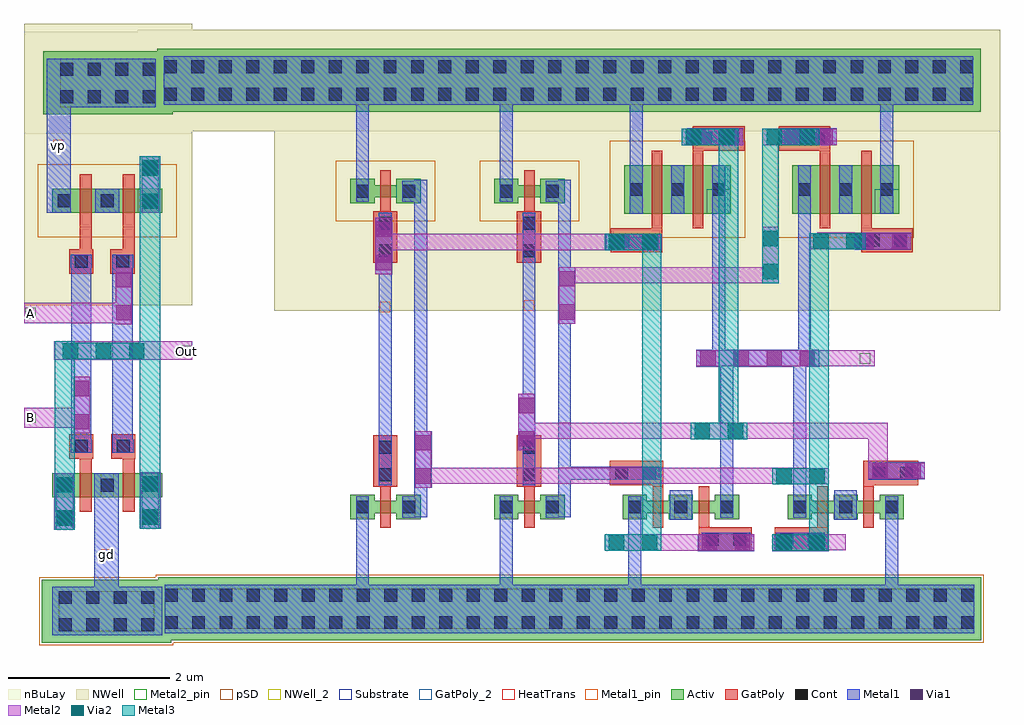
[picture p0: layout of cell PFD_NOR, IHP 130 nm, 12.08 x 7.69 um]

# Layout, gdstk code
from math import pi, radians
import gdstk
lib = gdstk.Library(unit=1e-6, precision=1e-09)
def R(c, l, rs):  # rectangles x0, y0, x1, y1
    for r in rs: c.add(gdstk.rectangle(r[:2], r[2:], *l))
def A(c, l, x, y, w, h, nx, ny, dx, dy):  # array of equal rectangles
    R(c, l, [(x+i*dx, y+j*dy, x+i*dx+w, y+j*dy+h) for i in range(nx) for j in range(ny)])
def P(c, l, *ps):  # polygons
    for p in ps: c.add(gdstk.Polygon(p, *l))
Activ = (1, 0)
GatPoly = (5, 0)
GatPoly_2 = (5, 2)
Cont = (6, 0)
Metal1 = (8, 0)
Metal1_pin = (8, 2)
Metal2 = (10, 0)
Metal2_pin = (10, 2)
pSD = (14, 0)
Via1 = (19, 0)
Via2 = (29, 0)
Metal3 = (30, 0)
NWell = (31, 0)
NWell_2 = (31, 2)
nBuLay = (32, 0)
Substrate = (40, 0)
HeatTrans = (51, 0)

pmos = lib.new_cell('pmos')
R(pmos, Activ, [(0,0,0.3,0.3), (0,0,0.83,0.3), (0.53,0,0.83,0.3)])
R(pmos, GatPoly, [(0.34,-0.18,0.49,0.48), (0.34,-0.18,0.49,0.48)])
R(pmos, Cont, [(0.07,0.07,0.23,0.23), (0.6,0.07,0.76,0.23)])
R(pmos, Metal1, [(0.07,0,0.23,0.3), (0.07,0,0.23,0.3), (0.6,0,0.76,0.3), (0.6,0,0.76,0.3)])
R(pmos, pSD, [(-0.18,-0.3,1.01,0.6)])
R(pmos, NWell, [(-0.31,-0.31,1.14,0.61)])
R(pmos, Substrate, [(0.53,0,0.83,0.3)])
R(pmos, HeatTrans, [(0.34,-0.18,0.49,0.48)])
pmos.add(gdstk.Label('pmos', (0.415,0.15), layer=63, texttype=0))
pmos.add(gdstk.Label('pmos', (0.415,0.15), layer=51, texttype=0))

ntap1 = lib.new_cell('ntap1')
R(ntap1, Activ, [(0,0,1.6,0.78)])
A(ntap1, Cont, 0.21, 0.14, 0.16, 0.16, 4, 2, 0.34, 0.34)
R(ntap1, Metal1, [(0.21,0.09,1.39,0.69)])
R(ntap1, Metal1_pin, [(0.21,0.09,1.39,0.69), (0.21,0.14,1.39,0.64)])
R(ntap1, NWell, [(-0.24,-0.24,1.84,1.02), (0,0,1.6,0.78)])
R(ntap1, NWell_2, [(0,0,1.6,0.78)])
R(ntap1, nBuLay, [(-0.24,-0.24,1.84,1.02)])
ntap1.add(gdstk.Label('well', (0.8,0.01), layer=31, texttype=0))
ntap1.add(gdstk.Label('well', (0.8,0.01), layer=63, texttype=0))

via_5 = lib.new_cell('Via$5')
R(via_5, GatPoly, [(-0.15,-0.15,0.15,0.15)])
R(via_5, Cont, [(-0.08,-0.08,0.08,0.08)])
R(via_5, Metal1, [(-0.13,-0.08,0.13,0.08)])

via_6 = lib.new_cell('Via$6')
R(via_6, Metal1, [(-0.105,-0.35,0.105,0.35)])
R(via_6, Metal2, [(-0.1,-0.35,0.1,0.35)])
R(via_6, Via1, [(-0.095,-0.3,0.095,-0.11), (-0.095,0.11,0.095,0.3)])

ptap1 = lib.new_cell('ptap1')
R(ptap1, Activ, [(0,0,1.6,0.78)])
A(ptap1, Cont, 0.21, 0.14, 0.16, 0.16, 4, 2, 0.34, 0.34)
R(ptap1, Metal1, [(0.21,0.09,1.39,0.69), (0.21,0.14,1.39,0.64)])
R(ptap1, Metal1_pin, [(0.21,0.14,1.39,0.64)])
R(ptap1, pSD, [(-0.03,-0.03,1.63,0.81)])
R(ptap1, Substrate, [(0,0,1.6,0.78)])
ptap1.add(gdstk.Label('sub!', (0.8,0.01), layer=63, texttype=0))
ptap1.add(gdstk.Label('sub!', (0.8,0.01), layer=40, texttype=0))

nmos = lib.new_cell('nmos')
R(nmos, Activ, [(0,0,0.3,0.3), (0,0,0.83,0.3), (0.53,0,0.83,0.3)])
R(nmos, GatPoly, [(0.34,-0.18,0.49,0.48)])
R(nmos, GatPoly_2, [(0.34,-0.18,0.49,0.48)])
R(nmos, Cont, [(0.07,0.07,0.23,0.23), (0.6,0.07,0.76,0.23)])
R(nmos, Metal1, [(0.07,0,0.23,0.3), (0.6,0,0.76,0.3)])
R(nmos, Metal1_pin, [(0.07,0,0.23,0.3), (0.6,0,0.76,0.3)])
R(nmos, HeatTrans, [(0.34,-0.18,0.49,0.48)])
nmos.add(gdstk.Label('nmos', (0.415,0.15), layer=63, texttype=0))
nmos.add(gdstk.Label('nmos', (0.415,0.15), layer=51, texttype=0))

via = lib.new_cell('Via')
R(via, Metal2, [(-0.1,-0.35,0.1,0.35)])
R(via, Via2, [(-0.095,-0.3,0.095,-0.11), (-0.095,0.11,0.095,0.3)])
R(via, Metal3, [(-0.1,-0.35,0.1,0.35)])

via_7 = lib.new_cell('Via$7')
R(via_7, Metal2, [(-0.555,-0.1,0.555,0.1)])
A(via_7, Via2, -0.505, -0.095, 0.19, 0.19, 3, 1, 0.41, 0)
R(via_7, Metal3, [(-0.555,-0.1,0.555,0.1)])

pmos_1 = lib.new_cell('pmos$1')
R(pmos_1, Activ, [(0,0,0.3,0.3), (0.57,0,0.87,0.3), (0,0.075,0.87,0.225)])
R(pmos_1, GatPoly, [(0.37,-0.105,0.5,0.405), (0.37,-0.105,0.5,0.405)])
R(pmos_1, Cont, [(0.07,0.07,0.23,0.23), (0.64,0.07,0.8,0.23)])
R(pmos_1, Metal1, [(0.07,0.02,0.23,0.28), (0.07,0.02,0.23,0.28), (0.64,0.02,0.8,0.28), (0.64,0.02,0.8,0.28)])
R(pmos_1, pSD, [(-0.18,-0.225,1.05,0.525)])
R(pmos_1, NWell, [(-0.31,-0.31,1.18,0.61)])
R(pmos_1, Substrate, [(0.57,0,0.87,0.3)])
R(pmos_1, HeatTrans, [(0.37,-0.105,0.5,0.405)])
pmos_1.add(gdstk.Label('pmos', (0.435,0.15), layer=63, texttype=0))
pmos_1.add(gdstk.Label('pmos', (0.435,0.15), layer=51, texttype=0))

ntap1_1 = lib.new_cell('ntap1$1')
R(ntap1_1, Activ, [(0,0,8.5,0.78)])
A(ntap1_1, Cont, 0.09, 0.14, 0.16, 0.16, 25, 2, 0.34, 0.34)
R(ntap1_1, Metal1, [(0.09,0.09,8.41,0.69)])
R(ntap1_1, Metal1_pin, [(0.09,0.09,8.41,0.69), (0.09,0.14,8.41,0.64)])
R(ntap1_1, NWell, [(-0.24,-0.24,8.74,1.02), (0,0,8.5,0.78)])
R(ntap1_1, NWell_2, [(0,0,8.5,0.78)])
R(ntap1_1, nBuLay, [(-0.24,-0.24,8.74,1.02)])
ntap1_1.add(gdstk.Label('well', (4.25,0.01), layer=31, texttype=0))
ntap1_1.add(gdstk.Label('well', (4.25,0.01), layer=63, texttype=0))

pmos_3 = lib.new_cell('pmos$3')
A(pmos_3, Activ, 0, 0, 0.3, 0.3, 3, 1, 0.51, 0)
R(pmos_3, Activ, [(0,0,1.32,0.6)])
R(pmos_3, GatPoly, [(0.34,-0.18,0.47,0.78), (0.34,-0.18,0.47,0.78), (0.85,-0.18,0.98,0.78)])
A(pmos_3, Cont, 0.07, 0.22, 0.16, 0.16, 3, 1, 0.51, 0)
R(pmos_3, Metal1, [(0.07,0,0.23,0.6), (0.07,0,0.23,0.6), (0.58,0,0.74,0.6), (0.58,0,0.74,0.6), (1.09,0,1.25,0.6)])
R(pmos_3, pSD, [(-0.18,-0.3,1.5,0.9)])
R(pmos_3, NWell, [(-0.31,-0.31,1.63,0.91)])
R(pmos_3, Substrate, [(1.02,0,1.32,0.3)])
R(pmos_3, HeatTrans, [(0.34,-0.18,0.47,0.78), (0.85,-0.18,0.98,0.78)])
pmos_3.add(gdstk.Label('pmos', (0.405,0.3), layer=63, texttype=0))
pmos_3.add(gdstk.Label('pmos', (0.405,0.3), layer=51, texttype=0))
pmos_3.add(gdstk.Label('pmos', (0.915,0.3), layer=51, texttype=0))

nmos_1 = lib.new_cell('nmos$1')
R(nmos_1, Activ, [(0,0,0.3,0.3), (0.57,0,0.87,0.3), (0,0.075,0.87,0.225)])
R(nmos_1, GatPoly, [(0.37,-0.105,0.5,0.405)])
R(nmos_1, GatPoly_2, [(0.37,-0.105,0.5,0.405)])
R(nmos_1, Cont, [(0.07,0.07,0.23,0.23), (0.64,0.07,0.8,0.23)])
R(nmos_1, Metal1, [(0.07,0.02,0.23,0.28), (0.64,0.02,0.8,0.28)])
R(nmos_1, Metal1_pin, [(0.07,0.02,0.23,0.28), (0.64,0.02,0.8,0.28)])
R(nmos_1, HeatTrans, [(0.37,-0.105,0.5,0.405)])
nmos_1.add(gdstk.Label('nmos', (0.435,0.15), layer=63, texttype=0))
nmos_1.add(gdstk.Label('nmos', (0.435,0.15), layer=51, texttype=0))

nmos_5 = lib.new_cell('nmos$5')
A(nmos_5, Activ, 0, 0, 0.3, 0.3, 3, 1, 0.57, 0)
R(nmos_5, Activ, [(0,0.075,1.44,0.225)])
R(nmos_5, GatPoly, [(0.37,-0.105,0.5,0.405), (0.94,-0.105,1.07,0.405)])
R(nmos_5, GatPoly_2, [(0.37,-0.105,0.5,0.405)])
A(nmos_5, Cont, 0.07, 0.07, 0.16, 0.16, 3, 1, 0.57, 0)
A(nmos_5, Metal1, 0.07, 0.02, 0.16, 0.26, 3, 1, 0.57, 0)
R(nmos_5, Metal1_pin, [(0.07,0.02,0.23,0.28), (0.64,0.02,0.8,0.28)])
R(nmos_5, HeatTrans, [(0.37,-0.105,0.5,0.405), (0.94,-0.105,1.07,0.405)])
nmos_5.add(gdstk.Label('nmos', (0.435,0.15), layer=63, texttype=0))
nmos_5.add(gdstk.Label('nmos', (0.435,0.15), layer=51, texttype=0))
nmos_5.add(gdstk.Label('nmos', (1.005,0.15), layer=51, texttype=0))

via_6_1 = lib.new_cell('Via$6$1')
R(via_6_1, GatPoly, [(-0.15,-0.32,0.15,0.32)])
R(via_6_1, Cont, [(-0.08,-0.25,0.08,-0.09), (-0.08,0.09,0.08,0.25)])
R(via_6_1, Metal1, [(-0.08,-0.3,0.08,0.3)])

via_7_1 = lib.new_cell('Via$7$1')
R(via_7_1, Metal1, [(-0.76,-0.105,0.76,0.105)])
R(via_7_1, Metal2, [(-0.76,-0.1,0.76,0.1)])
A(via_7_1, Via1, -0.71, -0.095, 0.19, 0.19, 4, 1, 0.41, 0)

via_9 = lib.new_cell('Via$9')
R(via_9, Metal1, [(-0.35,-0.105,0.35,0.105)])
R(via_9, Metal2, [(-0.35,-0.1,0.35,0.1)])
R(via_9, Via1, [(-0.3,-0.095,-0.11,0.095), (0.11,-0.095,0.3,0.095)])

via_1 = lib.new_cell('Via$1')
R(via_1, Metal2, [(-0.35,-0.1,0.35,0.1)])
R(via_1, Via2, [(-0.3,-0.095,-0.11,0.095), (0.11,-0.095,0.3,0.095)])
R(via_1, Metal3, [(-0.35,-0.1,0.35,0.1)])

ptap1_1 = lib.new_cell('ptap1$1')
R(ptap1_1, Activ, [(0,0,8.5,0.78)])
A(ptap1_1, Cont, 0.09, 0.14, 0.16, 0.16, 25, 2, 0.34, 0.34)
R(ptap1_1, Metal1, [(0.09,0.09,8.41,0.69), (0.09,0.14,8.41,0.64)])
R(ptap1_1, Metal1_pin, [(0.09,0.14,8.41,0.64)])
R(ptap1_1, pSD, [(-0.03,-0.03,8.53,0.81)])
R(ptap1_1, Substrate, [(0,0,8.5,0.78)])
ptap1_1.add(gdstk.Label('sub!', (4.25,0.01), layer=63, texttype=0))
ptap1_1.add(gdstk.Label('sub!', (4.25,0.01), layer=40, texttype=0))

xnor = lib.new_cell('XNOR')
R(xnor, GatPoly, [(5.14,-5.055,5.24,-4.76), (6.64,-5.055,6.74,-4.76), (7.18,-4.34,7.31,-4.24), (4.57,-4.275,4.7,-4.175), (7.18,-4.25,7.31,-3.935), (4.68,-4.24,4.7,-3.94)])
R(xnor, Metal1, [(2.68,-5.94,2.84,-4.95), (7.45,-5.94,7.61,-4.98), (0.9,-5.86,1.06,-5.03), (4.27,-5.77,4.43,-4.955), (4.27,-5.275,4.43,-4.635), (0.9,-5.155,1.06,-4.575), (2.68,-5.155,2.84,-4.575), (7.45,-5.145,7.61,-4.635), (4.78,-4.665,5.01,-4.615), (5.01,-4.665,5.06,-4.305), (6.82,-4.665,7.05,-4.615), (7.05,-4.665,7.1,-4.305), (1.63,-4.635,1.78,-4.375), (3.41,-4.635,3.56,-4.375), (4.78,-4.615,5.01,-4.355), (6.82,-4.615,7.05,-4.355), (5.41,-4.46,5.57,-4.32), (6.31,-4.44,6.47,-4.25), (1.62,-4.385,1.78,-2.985), (3.4,-4.385,3.56,-2.985), (5.41,-4.375,5.57,-3.715), (6.31,-4.375,6.47,-3.715), (4.78,-4.355,5.01,-4.305), (6.82,-4.355,7.05,-4.305), (3.4,-4.17,4.06,-4.01), (1.18,-3.825,1.34,-2.425), (2.96,-3.825,3.12,-2.425), (5.41,-3.795,5.57,-3.135), (6.31,-3.795,6.47,-3.135), (6.31,-3.725,6.47,-3.065), (5.41,-3.715,5.57,-3.055), (1.62,-3.38,1.78,-1.78), (5.41,-3.3,5.57,-2.67), (3.4,-3.24,3.56,-1.48), (6.31,-3.24,6.47,-2.67), (5.31,-2.775,5.47,-2.09), (6.37,-2.67,6.53,-2.05), (2.96,-2.55,3.12,-1.53), (1.18,-2.51,1.34,-1.5), (5.31,-2.09,5.47,-1.09), (6.37,-2.09,6.53,-1.09), (1.62,-2.04,1.78,-0.64), (3.4,-2.04,3.56,-0.64), (1.62,-1.86,1.78,-0.46), (3.4,-1.86,3.56,-0.46), (1.18,-1.56,1.34,-1.44), (2.96,-1.56,3.12,-1.44), (6.37,-1.33,6.53,-0.87), (5.31,-1.31,5.47,-0.87), (0.9,-0.57,1.06,-0.38), (2.68,-0.55,2.84,-0.38), (0.9,-0.46,1.06,0.39), (2.68,-0.46,2.84,0.39), (4.29,-0.37,4.45,-0.25), (7.39,-0.37,7.55,-0.23), (4.29,-0.27,4.45,0.49), (7.39,-0.27,7.55,0.51), (2.68,0.27,2.84,0.79), (0.9,0.39,1.06,0.75)])
P(xnor, Metal1, [(0.9,-0.4),(0.9,-0.4),(0.9,-0.4),(0.9,-0.4)])
R(xnor, Metal1_pin, [(4.265,-5.825,4.395,-5.695), (1.195,-2.1,1.325,-1.97), (2.975,-2.08,3.105,-1.95), (4.205,0.695,4.335,0.825)])
R(xnor, Metal2, [(4.68,-5.05,5.4,-4.85), (6.05,-5.045,6.81,-4.845), (6.64,-5.045,6.96,-4.845), (1.64,-4.225,4.15,-4.025), (3.97,-4.225,6.48,-4.025), (7.24,-4.05,7.48,-3.95), (7.24,-3.955,7.48,-3.485), (2.91,-3.665,5.42,-3.465), (4.97,-3.665,7.48,-3.465), (6.32,-2.77,7.32,-2.57), (3.59,-1.74,6.1,-1.54), (1.23,-1.33,3.74,-1.13), (1.48,-1.33,3.99,-1.13), (6.605,-1.31,7.07,-1.11)])
R(xnor, Metal2_pin, [(7.135,-2.735,7.265,-2.605)])
R(xnor, Metal3, [(6.51,-5.04,6.75,-3.035), (4.44,-4.905,4.68,-2.225), (6.51,-4.22,6.75,-2.215), (5.39,-3.635,5.63,-0.955), (6.51,-2.31,6.75,-1.22), (4.44,-2.225,4.68,-1.33), (5.93,-1.11,6.13,-1.01), (5.93,-1.03,6.13,0.16), (5.39,-0.955,5.63,0.07)])
R(xnor, NWell, [(-0.11,-2.08,8.87,0.37), (0.18,-1.74,8.17,0.76)])
xnor.add(gdstk.Reference(pmos_1, (2.61,-0.75)))
xnor.add(gdstk.Reference(ntap1_1, (0.13,0.38)))
xnor.add(gdstk.Reference(pmos_3, (6.3,-0.88)))
xnor.add(gdstk.Reference(nmos_1, (2.61,-4.66)))
xnor.add(gdstk.Reference(nmos_5, (4.2,-4.66)))
xnor.add(gdstk.Reference(nmos_5, (6.24,-4.66)))
xnor.add(gdstk.Reference(pmos_1, (0.83,-0.75)))
xnor.add(gdstk.Reference(pmos_3, (4.22,-0.88)))
xnor.add(gdstk.Reference(nmos_1, (0.83,-4.66)))
xnor.add(gdstk.Reference(via_6_1, (1.26,-3.94)))
xnor.add(gdstk.Reference(via_6_1, (1.26,-1.17)))
xnor.add(gdstk.Reference(via_6_1, (7.47,-1.21), rotation=pi/2))
xnor.add(gdstk.Reference(via_6_1, (5.39,0.05), rotation=pi/2))
xnor.add(gdstk.Reference(via_6_1, (6.45,0.05), rotation=pi/2))
xnor.add(gdstk.Reference(via_6_1, (5.48,-4.91), rotation=pi/2))
xnor.add(gdstk.Reference(via_6_1, (7.54,-4.09), rotation=pi/2))
xnor.add(gdstk.Reference(via_6_1, (4.36,-4.09), rotation=pi/2))
xnor.add(gdstk.Reference(via_6_1, (4.37,-1.21), rotation=pi/2))
xnor.add(gdstk.Reference(via_7_1, (5.87,-2.67)))
xnor.add(gdstk.Reference(via_6_1, (6.4,-4.91), rotation=pi/2))
xnor.add(gdstk.Reference(via_6_1, (3.04,-3.94)))
xnor.add(gdstk.Reference(via_6_1, (3.04,-1.17)))
xnor.add(gdstk.Reference(via_9, (1.24,-1.28), rotation=pi/2))
xnor.add(gdstk.Reference(via_9, (4.34,-1.23), rotation=pi))
xnor.add(gdstk.Reference(via_1, (4.33,-1.23)))
xnor.add(gdstk.Reference(via_1, (4.33,-4.95)))
xnor.add(gdstk.Reference(via_9, (5.48,-4.95)))
xnor.add(gdstk.Reference(via_9, (6.4,-4.95)))
xnor.add(gdstk.Reference(via_9, (1.73,-3.92), rotation=pi/2))
xnor.add(gdstk.Reference(via_1, (6.4,-4.95)))
xnor.add(gdstk.Reference(via_1, (6.4,-4.13)))
xnor.add(gdstk.Reference(via_9, (7.42,-1.22)))
xnor.add(gdstk.Reference(via_9, (3.01,-3.46), rotation=pi/2))
xnor.add(gdstk.Reference(via_9, (7.59,-4.06)))
xnor.add(gdstk.Reference(via_1, (5.39,-3.57)))
xnor.add(gdstk.Reference(via_1, (5.28,0.07)))
xnor.add(gdstk.Reference(via_1, (6.86,-1.22)))
xnor.add(gdstk.Reference(via_9, (3.51,-1.89), rotation=pi/2))
xnor.add(gdstk.Reference(via_1, (6.03,-1.39), rotation=pi/2))
xnor.add(gdstk.Reference(via_9, (5.34,0.07)))
xnor.add(gdstk.Reference(via_9, (6.5,0.07)))
xnor.add(gdstk.Reference(via_1, (6.28,0.07)))
xnor.add(gdstk.Reference(ptap1_1, (0.14,-6.16)))
xnor.add(gdstk.Label('y', (7.2,-2.67), layer=10, texttype=25))
xnor.add(gdstk.Label('GND', (4.33,-5.76), layer=8, texttype=25))
xnor.add(gdstk.Label('VP', (4.27,0.76), layer=8, texttype=25))
xnor.add(gdstk.Label('a', (1.26,-2.03), layer=8, texttype=25))
xnor.add(gdstk.Label('b', (3.04,-2.01), layer=8, texttype=25))

ntap1_3 = lib.new_cell('ntap1$3')
R(ntap1_3, Activ, [(0,0,7.8,0.78)])
A(ntap1_3, Cont, 0.08, 0.14, 0.16, 0.16, 23, 2, 0.34, 0.34)
R(ntap1_3, Metal1, [(0.08,0.09,7.72,0.69)])
R(ntap1_3, Metal1_pin, [(0.08,0.09,7.72,0.69), (0.08,0.14,7.72,0.64)])
R(ntap1_3, NWell, [(-0.24,-0.24,8.04,1.02), (0,0,7.8,0.78)])
R(ntap1_3, NWell_2, [(0,0,7.8,0.78)])
R(ntap1_3, nBuLay, [(-0.24,-0.24,8.04,1.02)])
ntap1_3.add(gdstk.Label('well', (3.9,0.01), layer=31, texttype=0))
ntap1_3.add(gdstk.Label('well', (3.9,0.01), layer=63, texttype=0))

ptap1_3 = lib.new_cell('ptap1$3')
R(ptap1_3, Activ, [(0,0,7.8,0.78)])
A(ptap1_3, Cont, 0.08, 0.14, 0.16, 0.16, 23, 2, 0.34, 0.34)
R(ptap1_3, Metal1, [(0.08,0.09,7.72,0.69), (0.08,0.14,7.72,0.64)])
R(ptap1_3, Metal1_pin, [(0.08,0.14,7.72,0.64)])
R(ptap1_3, pSD, [(-0.03,-0.03,7.83,0.81)])
R(ptap1_3, Substrate, [(0,0,7.8,0.78)])
ptap1_3.add(gdstk.Label('sub!', (3.9,0.01), layer=63, texttype=0))
ptap1_3.add(gdstk.Label('sub!', (3.9,0.01), layer=40, texttype=0))

pfd_nor = lib.new_cell('PFD_NOR')
R(pfd_nor, GatPoly, [(1.67,0.13,1.82,0.41), (1.14,0.14,1.29,0.41)])
R(pfd_nor, Metal1, [(0.8,-4.64,2.16,-4.04), (1.33,0.59,1.63,0.89)])
R(pfd_nor, Metal1_pin, [(1.405,-3.705,1.535,-3.575), (0.815,1.365,0.945,1.495)])
R(pfd_nor, Metal2, [(0.825,-1.23,2.53,-1)])
R(pfd_nor, Metal2_pin, [(0.465,-2.005,0.595,-1.875), (2.395,-1.185,2.525,-1.055), (0.465,-0.715,0.595,-0.585)])
R(pfd_nor, NWell, [(0.45,-0.55,2.53,2.93)])
pfd_nor.add(gdstk.FlexPath([(2.015,-2.62),(2.015,-3.32)], 0.25, ends="flush", simple_path=True, layer=10, datatype=0))  # Metal2
pfd_nor.add(gdstk.FlexPath([(0.95,-2.63),(0.95,-3.33)], 0.25, ends="flush", simple_path=True, layer=10, datatype=0))  # Metal2
pfd_nor.add(gdstk.FlexPath([(2.01,1.29),(2.01,0.59)], 0.25, ends="flush", simple_path=True, layer=10, datatype=0))  # Metal2
pfd_nor.add(gdstk.FlexPath([(1.78,-0.65),(0.45,-0.65)], 0.25, ends="flush", simple_path=True, layer=10, datatype=0))  # Metal2
pfd_nor.add(gdstk.FlexPath([(1.265,-1.945),(0.45,-1.945)], 0.25, ends="flush", simple_path=True, layer=10, datatype=0))  # Metal2
pfd_nor.add(gdstk.FlexPath([(2.01,-3.32),(2.01,1.29)], 0.25, ends="flush", simple_path=True, layer=30, datatype=0))  # Metal3
pfd_nor.add(gdstk.FlexPath([(0.955,-3.33),(0.955,-1)], 0.25, ends="flush", simple_path=True, layer=30, datatype=0))  # Metal3
pfd_nor.add(gdstk.FlexPath([(0.88,0.59),(0.88,2.5)], 0.3, ends="flush", simple_path=True, layer=8, datatype=0))  # Metal1
pfd_nor.add(gdstk.FlexPath([(1.16,0.07),(1.16,-2.38)], 0.25, ends="flush", simple_path=True, layer=8, datatype=0))  # Metal1
pfd_nor.add(gdstk.FlexPath([(1.67,0.07),(1.67,-2.38)], 0.25, ends="flush", simple_path=True, layer=8, datatype=0))  # Metal1
pfd_nor.add(gdstk.FlexPath([(1.47,-2.63),(1.47,-4.04)], 0.3, ends="flush", simple_path=True, layer=8, datatype=0))  # Metal1
pfd_nor.add(gdstk.Reference(pmos, (0.8,0.59)))
pfd_nor.add(gdstk.Reference(pmos, (1.33,0.59)))
pfd_nor.add(gdstk.Reference(ntap1, (0.69,1.81)))
pfd_nor.add(gdstk.Reference(via_5, (1.16,-0.01)))
pfd_nor.add(gdstk.Reference(via_5, (1.67,-0.01)))
pfd_nor.add(gdstk.Reference(via_5, (1.16,-2.3)))
pfd_nor.add(gdstk.Reference(via_5, (1.68,-2.3)))
pfd_nor.add(gdstk.Reference(via_6, (1.165,-1.79)))
pfd_nor.add(gdstk.Reference(via_6, (1.685,-0.44)))
pfd_nor.add(gdstk.Reference(ptap1, (0.67,-4.73)))
pfd_nor.add(gdstk.Reference(nmos, (0.8,-2.93)))
pfd_nor.add(gdstk.Reference(nmos, (1.33,-2.93)))
pfd_nor.add(gdstk.Reference(via, (2.01,0.94)))
pfd_nor.add(gdstk.Reference(via_6, (2.015,0.94)))
pfd_nor.add(gdstk.Reference(via, (2.01,-2.97)))
pfd_nor.add(gdstk.Reference(via_6, (2.015,-2.97)))
pfd_nor.add(gdstk.Reference(via, (0.95,-2.98)))
pfd_nor.add(gdstk.Reference(via_6, (0.955,-2.98)))
pfd_nor.add(gdstk.Reference(via_7, (1.435,-1.12)))
pfd_nor.add(gdstk.Reference(xnor, (3.66,1.46)))
pfd_nor.add(gdstk.Reference(ntap1_3, (2.1,1.84)))
pfd_nor.add(gdstk.Reference(ptap1_3, (2.11,-4.7)))
pfd_nor.add(gdstk.Label('Out', (2.46,-1.12), layer=10, texttype=25))
pfd_nor.add(gdstk.Label('A', (0.53,-0.65), layer=10, texttype=25))
pfd_nor.add(gdstk.Label('B', (0.53,-1.94), layer=10, texttype=25))
pfd_nor.add(gdstk.Label('gd', (1.47,-3.64), layer=8, texttype=25))
pfd_nor.add(gdstk.Label('vp', (0.88,1.43), layer=8, texttype=25))

lib.write_gds('PFD_NOR.gds')
